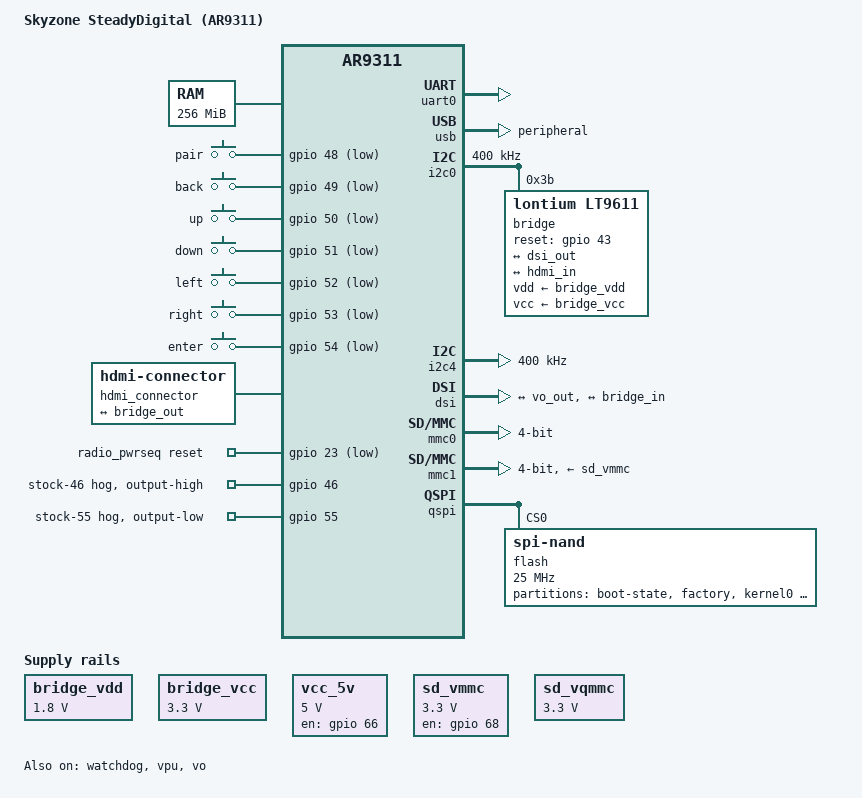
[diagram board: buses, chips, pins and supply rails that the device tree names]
// SPDX-License-Identifier: GPL-2.0-or-later
/* Skyzone SteadyDigital receiver (AR9311 + AR8030 over SDIO).
 * Wiring from the box's stock device tree and its startup scripts:
 * radio reset GPIO23, SD power GPIO68 and I/O rail GPIO100, seven
 * active-low keys on GPIO48-54, 5 V enable GPIO66, DSI to a Lontium
 * LT9611 HDMI bridge on I2C0 0x3b (reset GPIO43).
 * Same SPL, A/B flash layout and CPU handoff as the BETAFPV P1.
 */
/dts-v1/;
#include "ar9311.dtsi"
#include <dt-bindings/input/input.h>

/ {
	model = "Skyzone SteadyDigital (AR9311)";
	compatible = "skyzone,steadydigital", "artosyn,proxima-9311";

	aliases {
		serial0 = &uart0;
		i2c0 = &i2c0;
		i2c4 = &i2c4;
	};

	chosen {
		stdout-path = "serial0:1152000n8";
		bootargs = "console=ttyS0,1152000 earlycon loglevel=7 rdinit=/init";
	};

	/* 256 MiB in total. Stock gives Linux 148 MiB (mem=148m) and the
	 * media pool the rest; the reservations below keep that split.
	 */
	memory@20000000 {
		device_type = "memory";
		reg = <0 0x20000000 0 0x10000000>;
	};

	reserved-memory {
		#address-cells = <2>;
		#size-cells = <2>;
		ranges;

		/* Retained across warm resets, not power loss. */
		ramoops@29300000 {
			compatible = "ramoops";
			reg = <0 0x29300000 0 0x00100000>;
			record-size = <0x20000>;
			console-size = <0x40000>;
			pmsg-size = <0x20000>;
			no-map;
		};

		/* Stock's media region; only the decoder owns it here. */
		codec_pool: dma-pool@29400000 {
			compatible = "shared-dma-pool";
			reg = <0 0x29400000 0 0x06b00000>;
			no-map;
		};

		/* The U-Boot RAM loader parks the secondary CPU here (as on P1). */
		loader@2ff00000 {
			reg = <0 0x2ff00000 0 0x00100000>;
			no-map;
		};
	};

	/* The SPL reads this word at reset; bit 0 requests its USB loader. */
	reboot-scratch@a106138 {
		compatible = "syscon", "simple-mfd";
		reg = <0 0x0a106138 0 4>;
		reboot-mode {
			compatible = "syscon-reboot-mode";
			offset = <0>;
			mode-normal = <2>;
			mode-bootloader = <3>;
		};
	};

	/* GPIO interrupts are not wired into Linux yet: poll. */
	keys {
		compatible = "gpio-keys-polled";
		label = "steadydigital-keys";
		poll-interval = <20>;
		key-pair {
			label = "pair";
			gpios = <&gpio 48 GPIO_ACTIVE_LOW>;
			linux,code = <KEY_WPS_BUTTON>;
			debounce-interval = <50>;
		};
		key-back {
			label = "back";
			gpios = <&gpio 49 GPIO_ACTIVE_LOW>;
			linux,code = <KEY_ESC>;
			debounce-interval = <50>;
		};
		key-up {
			label = "up";
			gpios = <&gpio 50 GPIO_ACTIVE_LOW>;
			linux,code = <KEY_UP>;
			debounce-interval = <50>;
		};
		key-down {
			label = "down";
			gpios = <&gpio 51 GPIO_ACTIVE_LOW>;
			linux,code = <KEY_DOWN>;
			debounce-interval = <50>;
		};
		key-left {
			label = "left";
			gpios = <&gpio 52 GPIO_ACTIVE_LOW>;
			linux,code = <KEY_LEFT>;
			debounce-interval = <50>;
		};
		key-right {
			label = "right";
			gpios = <&gpio 53 GPIO_ACTIVE_LOW>;
			linux,code = <KEY_RIGHT>;
			debounce-interval = <50>;
		};
		key-enter {
			label = "enter";
			gpios = <&gpio 54 GPIO_ACTIVE_LOW>;
			linux,code = <KEY_ENTER>;
			debounce-interval = <50>;
		};
	};

	hdmi_connector {
		compatible = "hdmi-connector";
		type = "a";
		port {
			hdmi_in: endpoint {
				remote-endpoint = <&bridge_out>;
			};
		};
	};

	bridge_vdd: regulator-bridge-vdd {
		compatible = "regulator-fixed";
		regulator-name = "bridge-vdd-always-on";
		regulator-min-microvolt = <1800000>;
		regulator-max-microvolt = <1800000>;
		regulator-always-on;
	};

	bridge_vcc: regulator-bridge-vcc {
		compatible = "regulator-fixed";
		regulator-name = "bridge-vcc-always-on";
		regulator-min-microvolt = <3300000>;
		regulator-max-microvolt = <3300000>;
		regulator-always-on;
	};

	/* Stock poweron.sh: "enable power 5v" on GPIO66 before anything else. */
	vcc_5v: regulator-5v {
		compatible = "regulator-fixed";
		regulator-name = "vcc-5v";
		regulator-min-microvolt = <5000000>;
		regulator-max-microvolt = <5000000>;
		gpio = <&gpio 66 GPIO_ACTIVE_HIGH>;
		enable-active-high;
		regulator-boot-on;
		regulator-always-on;
	};

	sd_vmmc: regulator-sd-vmmc {
		compatible = "regulator-fixed";
		regulator-name = "sd-3v3";
		regulator-min-microvolt = <3300000>;
		regulator-max-microvolt = <3300000>;
		gpio = <&gpio 68 GPIO_ACTIVE_HIGH>;
		enable-active-high;
		regulator-boot-on;
		regulator-always-on;
	};

	sd_vqmmc: regulator-sd-vqmmc {
		compatible = "regulator-gpio";
		regulator-name = "sd-vqmmc";
		regulator-min-microvolt = <3300000>;
		regulator-max-microvolt = <3300000>;
		regulator-always-on;
		gpios = <&gpio 100 GPIO_ACTIVE_HIGH>;
		gpios-states = <1>;
		states = <3300000 1>;
	};

	/* Stock start_ar813x_gnd.sh resets the radio on GPIO23; its SDIO
	 * host has no switched supply.
	 */
	radio_pwrseq: radio-pwrseq {
		compatible = "artosyn,ar8030-pwrseq";
		reset-gpios = <&gpio 23 GPIO_ACTIVE_LOW>;
	};
};

&cpu0 {
	enable-method = "ar-spin-table";
};

&cpu1 {
	enable-method = "ar-spin-table";
	cpu-release-addr = <0 0x00100000>;
};

&uart0 {
	status = "okay";
};

&usb {
	status = "okay";
	dr_mode = "peripheral";
};

&watchdog {
	status = "okay";
};

&gpio {
	status = "okay";

	/* Levels stock's media stack leaves on lines 46 and 55 (function not
	 * yet identified), held the same way here.
	 */
	stock-46-hog {
		gpio-hog;
		gpios = <46 GPIO_ACTIVE_HIGH>;
		output-high;
		line-name = "stock-46";
	};
	stock-55-hog {
		gpio-hog;
		gpios = <55 GPIO_ACTIVE_HIGH>;
		output-low;
		line-name = "stock-55";
	};
};

&soc_temp {
	status = "okay";
};

&vpu {
	status = "okay";
	memory-region = <&codec_pool>;
};

/* Stock enables I2C0 and I2C4 only. */
&i2c0 {
	status = "okay";
	clock-frequency = <400000>;
	i2c-sda-hold-time-ns = <300>;
	i2c-sda-falling-time-ns = <300>;
	i2c-scl-falling-time-ns = <300>;

	/* The HDMI bridge answers here with the LT9611 ID (17 02 e2), the same
	 * part as the Ascent Gnd485's. Stock's 1080p60 attribute uses the
	 * Ascent raster and 928.8 Mbps lanes, so the same quirks apply.
	 * Reset: GPIO43 (the KAP reference DSI reset; stock leaves it high).
	 */
	bridge@3b {
		compatible = "lontium,lt9611";
		lontium,page-select-quirk;
		lontium,ascent-hdmi-quirk;
		reg = <0x3b>;
		reset-gpios = <&gpio 43 GPIO_ACTIVE_HIGH>;
		vdd-supply = <&bridge_vdd>;
		vcc-supply = <&bridge_vcc>;
		/* No bridge IRQ wired into Linux; the connector status is polled. */
		ports {
			#address-cells = <1>;
			#size-cells = <0>;
			port@0 {
				reg = <0>;
				bridge_in: endpoint {
					remote-endpoint = <&dsi_out>;
				};
			};
			port@2 {
				reg = <2>;
				bridge_out: endpoint {
					remote-endpoint = <&hdmi_in>;
				};
			};
		};
	};
};

&soc {
	i2c4: i2c@1208000 {
		compatible = "snps,designware-i2c";
		reg = <0 0x01208000 0 0x2000>;
		interrupts = <GIC_SPI 36 IRQ_TYPE_LEVEL_HIGH>;
		clocks = <&clk150m>;
		#address-cells = <1>;
		#size-cells = <0>;
		clock-frequency = <400000>;
		i2c-sda-hold-time-ns = <300>;
		i2c-sda-falling-time-ns = <300>;
		i2c-scl-falling-time-ns = <300>;
	};
};

&i2c4 {
	status = "okay";
};

&vo {
	status = "okay";
	artosyn,display-profile = "ascent-hdmi";
	port {
		vo_out: endpoint {
			remote-endpoint = <&dsi_in>;
		};
	};
};

&dsi {
	status = "okay";
	artosyn,display-profile = "ascent-hdmi";
	ports {
		#address-cells = <1>;
		#size-cells = <0>;
		port@0 {
			reg = <0>;
			dsi_in: endpoint {
				remote-endpoint = <&vo_out>;
			};
		};
		port@1 {
			reg = <1>;
			dsi_out: endpoint {
				remote-endpoint = <&bridge_in>;
			};
		};
	};
};

&mmc_clocks {
	status = "okay";
	artosyn,clock-config = <0x87 2>, <0x80 0>;
};

&mmc0 {
	status = "okay";
	clock-frequency = <100000000>;
	max-frequency = <50000000>;
	bus-width = <4>;
	cap-sd-highspeed;
	cap-sdio-irq;
	broken-cd;
	no-mmc;
	no-sd;
	no-1-8-v;
	mmc-pwrseq = <&radio_pwrseq>;
};

&mmc1 {
	status = "okay";
	clock-frequency = <100000000>;
	max-frequency = <50000000>;
	card-detect-delay = <200>;
	vmmc-supply = <&sd_vmmc>;
	vqmmc-supply = <&sd_vqmmc>;
	bus-width = <4>;
	cap-sd-highspeed;
	disable-wp;
	no-1-8-v;
	no-mmc;
	no-sdio;
};

/* Stock A/B layout: bank A = kernel0/dtb0/userapp0 (stock, never written,
 * read-only here), bank B = kernel1/dtb1/userapp1 (fpvOS). The updater writes
 * bank B, flips the GPT at the start of boot-state (gpt0) and keeps
 * settings/pairing in usr_data, so those are writable; factory stays
 * read-only.
 */
&qspi_clock {
	status = "okay";
};

&qspi {
	status = "okay";
	clocks = <&qspi_clock>;
	flash@0 {
		compatible = "spi-nand";
		reg = <0>;
		spi-max-frequency = <25000000>;
		/* Reads on four lines (the chip's x4 cache read), checked against
		 * 1-line reads before they are used (patch 0036); writes on one. */
		spi-rx-bus-width = <4>;
		spi-tx-bus-width = <1>;
		partitions {
			compatible = "fixed-partitions";
			#address-cells = <1>;
			#size-cells = <1>;
			partition@100000 {
				label = "boot-state";
				reg = <0x100000 0x80000>;
			};
			partition@200000 {
				label = "factory";
				reg = <0x200000 0x600000>;
				read-only;
			};
			partition@a40000 {
				label = "kernel0";
				reg = <0xa40000 0x600000>;
				read-only;
			};
			partition@1040000 {
				label = "kernel1";
				reg = <0x1040000 0x600000>;
			};
			partition@1640000 {
				label = "dtb0";
				reg = <0x1640000 0x60000>;
				read-only;
			};
			partition@16a0000 {
				label = "dtb1";
				reg = <0x16a0000 0x60000>;
			};
			partition@1700000 {
				label = "userapp0";
				reg = <0x1700000 0x2d00000>;
				read-only;
			};
			partition@4400000 {
				label = "userapp1";
				reg = <0x4400000 0x2d00000>;
			};
			partition@7100000 {
				label = "usr_data";
				reg = <0x7100000 0x600000>;
			};
		};
	};
};
